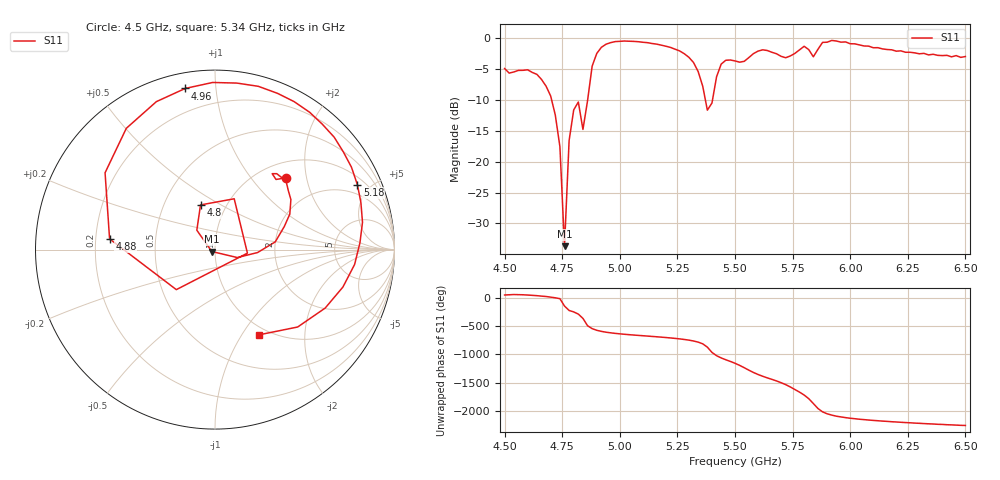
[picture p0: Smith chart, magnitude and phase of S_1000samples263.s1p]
! TOUCHSTONE file generated by CST MICROWAVE STUDIO
! Date and time: Thu Oct 27 13:46:23 2022
! Project name: L.cst
! Parameters = {Di=1.27; Epsilon_r=1.56; InnerDiameter=1.27; Length=2; Lf=10; Lg=60; OuterConductorThickness=0.2921; OuterDiameter=3.6; Wf=3; Wp=41.2; de=1.5; df=6.8; g=0.8; gx=3.84383; gy=0.407222; h=2.34; hf=1.524; px=11.4646; py=14.5991; w=9.7; wx=7.62073; wy=14.1919}
! Header version: 2018
! Port assignment regex: !\s*Touchstone port\s*([0-9]+)\s*=\s*(CST MWS port|CST DS port)\s*([0-9]+|Zmin|Zmax)\s*\(\"(.*)\"\)(\s*mode\s*([0-9]+))?.*
! Touchstone port assignment:
! Touchstone port 1 = CST MWS port 1 ("")
# GHz S DB R 50
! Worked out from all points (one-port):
!   101 points, 4.5 GHz to 6.5 GHz, reference 50 ohm
!   lowest |S11| = -33.7 dB at 4.76 GHz (marker M1), VSWR 1.04, Z = 48.2 - j1.03 ohm
!   |S11| at or under -10 dB: 4.704 GHz to 4.861 GHz (156.8 MHz wide, 3.28 % of centre); 5.371 GHz to 5.403 GHz (31.34 MHz wide, 0.582 % of centre)
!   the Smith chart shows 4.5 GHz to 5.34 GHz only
!   S11 on the Smith chart (normalised r, x): 4.5 GHz: 1.30, +1.53; 4.8 GHz: 0.76, +0.40; 4.88 GHz: 0.26, +0.05; 4.96 GHz: 0.08, +0.83; 5.18 GHz: 1.39, +4.17; 5.34 GHz: 0.90, -1.19
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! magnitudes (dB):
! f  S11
! 4.5 GHz  -5.0
! 4.64 GHz  -5.9
! 4.7 GHz  -9.4
! 4.74 GHz  -17.6
! 4.76 GHz  -33.7
! 4.78 GHz  -16.6
! 4.8 GHz  -11.6
! 4.82 GHz  -10.4
! 4.84 GHz  -14.8
! 4.88 GHz  -4.6
! 4.92 GHz  -1.5
! 4.96 GHz  -0.8
! 5 GHz  -0.6
! 5.18 GHz  -1.2
! 5.26 GHz  -2.1
! 5.34 GHz  -5.5
! 5.38 GHz  -11.7
! 5.4 GHz  -10.5
! 5.42 GHz  -6.3
! 5.44 GHz  -4.3
! 5.5 GHz  -3.7
! 5.62 GHz  -1.9
! 5.76 GHz  -2.5
! 5.84 GHz  -3.1
! 5.88 GHz  -0.7
! 6 GHz  -1.0
! 6.26 GHz  -2.3
! 6.5 GHz  -3.0
